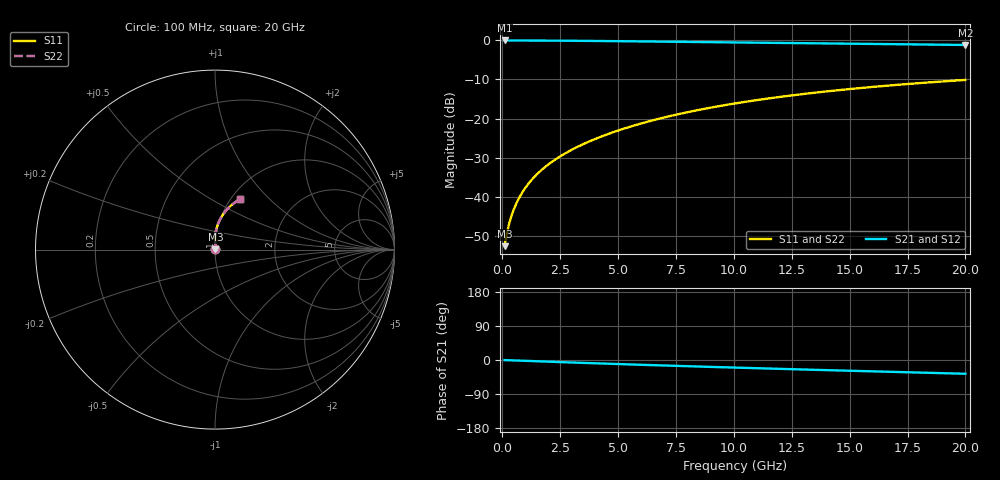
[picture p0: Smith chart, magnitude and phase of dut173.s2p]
! Touchstone file exported from HFSS 2024.1.0
!  File:  C:/UserFiles/LocalFiles/RDL_TSV_Batchsim/temp_RDL_bottom_173_1778698318.aedt
!  Generated:  02:54:46 AM May 14, 2026
!  Design:  RDL_bottom
!  Project:  temp_RDL_bottom_173_1778698318
!  Setup:  Setup1
!  Solution:  Sweep
! Variables:
!  dtsv = 10.80580581um
!  hbump = 3um
!  htsv = 99.63um
!  ldown = 505.11um
!  lrdl = 100um
!  p = 40
!  p1 = 57.31um
!  rhole = 1um
!  t = 450um
!  tdown = 3.98um
!  trdl = 3.915915916um
!  wdown = 28.15um
!  wrdl = 20um
# GHz S MA R 50.000000
! Terminal data exported
! Port[1] = RDL1_T1
! Port[2] = RDL1_T2
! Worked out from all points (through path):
!   200 points, 100 MHz to 20 GHz, reference 50 ohm
!   highest |S21| = -0.02 dB at 100 MHz (marker M1); lowest = -1.2 dB at 20 GHz (marker M2)
!   group delay of S21, straight-line fit = 4.97 ps
!   lowest |S11| = -52.6 dB at 100 MHz (marker M3), VSWR 1.00, Z = 50.2 + j0.146 ohm
!   |S11| at or under -10 dB: start of sweep to end of sweep
!   |S22| runs from -52.6 to -10.1 dB; largest |S21 - S12| = 4.1e-15
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0.1  0.002336 38.5  0.9982 -0.2  0.9982 -0.2  0.002336 38.5
! Gamma 0 0 0 0
! Port Impedance 50 0 50 0
0.2  0.003423 55.2  0.998 -0.5  0.998 -0.5  0.003423 55.2
0.3  0.004578 63.3  0.9978 -0.7  0.9978 -0.7  0.004578 63.3
0.4  0.005746 68.4  0.9977 -0.9  0.9977 -0.9  0.005746 68.4
0.5  0.00693 72.0  0.9975 -1.1  0.9975 -1.1  0.00693 72.0
0.6  0.008131 74.7  0.9974 -1.4  0.9974 -1.4  0.008131 74.6
0.8  0.01058 78.4  0.997 -1.8  0.997 -1.8  0.01058 78.4
1.1  0.01433 81.8  0.9965 -2.5  0.9965 -2.5  0.01433 81.8
1.5  0.01947 84.6  0.9954 -3.4  0.9954 -3.4  0.01947 84.6
1.8  0.0234 85.9  0.9945 -4.0  0.9945 -4.0  0.0234 85.9
2.1  0.02741 86.9  0.9934 -4.7  0.9934 -4.7  0.02741 86.9
2.7  0.03567 88.2  0.9908 -6.0  0.9908 -6.0  0.03567 88.2
3.5  0.04719 89.1  0.9867 -7.7  0.9867 -7.7  0.04719 89.1
4.2  0.05775 89.3  0.9825 -9.1  0.9825 -9.1  0.05774 89.3
5  0.07032 89.1  0.9774 -10.7  0.9774 -10.7  0.07031 89.1
6.8  0.1001 87.3  0.9649 -14.2  0.9649 -14.2  0.1001 87.3
8.4  0.1276 85.0  0.9536 -17.1  0.9536 -17.1  0.1276 85.0
10.1  0.1571 82.0  0.9416 -20.2  0.9416 -20.2  0.157 82.0
11.7  0.1845 79.0  0.9304 -22.9  0.9304 -22.9  0.1844 79.0
13.4  0.2128 75.7  0.9187 -25.8  0.9187 -25.8  0.2128 75.7
16.7  0.2649 69.6  0.8962 -31.1  0.8962 -31.1  0.2648 69.6
20  0.3122 63.7  0.8739 -36.3  0.8739 -36.3  0.3121 63.7
